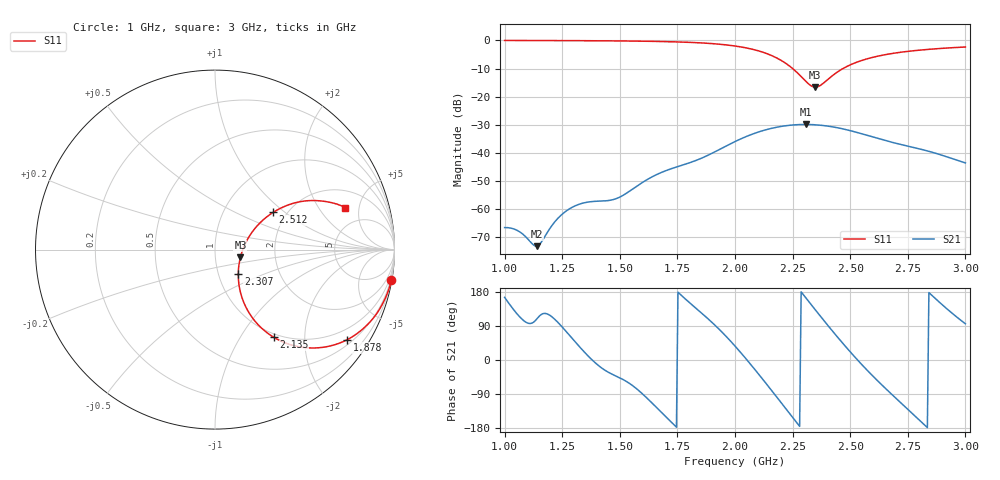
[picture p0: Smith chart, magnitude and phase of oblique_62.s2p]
! TOUCHSTONE file generated by CST MICROWAVE STUDIO
! Date and time: Tue Mar 18 00:01:25 2025
! Project name: oblique.cst
! Parameters = {Tilt=30; Fracture=1; B=12.5; D=160; F=5; Feed=2.85625; L=100; M=50; R=0.384908; S=1; Theta=180; length=57.125; wave=114.25}
! Header version: 2024
! Port assignment regex: !\s*Touchstone port\s*([0-9]+)\s*=\s*(CST MWS port|CST DES external port|CST DES block port)\s*(.+)\s* \(\"(.*)\"\)(\s*mode\s*([0-9]+))?.*
! Touchstone port assignment:
! Touchstone port 1 = CST MWS port 1 ("")
! Touchstone port 2 = CST MWS port 2 ("")
# GHz S DB R 50
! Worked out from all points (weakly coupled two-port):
!   304 points, 1 GHz to 3 GHz, reference 50 ohm
!   highest |S21| = -29.88 dB at 2.307 GHz (marker M1); lowest = -73.1 dB at 1.139 GHz (marker M2)
!   lowest |S11| = -16.6 dB at 2.347 GHz (marker M3), VSWR 1.35, Z = 66.2 - j5.73 ohm
!   |S11| at or under -10 dB: 2.25 GHz to 2.469 GHz (218.8 MHz wide, 9.28 % of centre)
!   S12 and S22 are empty: the file has one direction only
!   S11 on the Smith chart (normalised r, x): 1 GHz: 0, -12; 1.878 GHz: 0.64, -3.11; 2.135 GHz: 0.95, -1.41; 2.307 GHz: 1.24, -0.35; 2.512 GHz: 1.70, +0.83; 3 GHz: 3.22, +3.61
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1  -0.02 -9.8  -66.52 165.3  -200.00 0.0  -200.00 0.0
1.05941  -0.03 -10.6  -67.73 117.9  -200.00 0.0  -200.00 0.0
1.13861  -0.04 -11.8  -73.13 107.5  -200.00 0.0  -200.00 0.0
1.15842  -0.05 -12.1  -71.83 119.9  -200.00 0.0  -200.00 0.0
1.20462  -0.06 -12.8  -65.88 114.3  -200.00 0.0  -200.00 0.0
1.24422  -0.07 -13.5  -62.18 90.9  -200.00 0.0  -200.00 0.0
1.29043  -0.08 -14.3  -59.44 59.0  -200.00 0.0  -200.00 0.0
1.33663  -0.10 -15.2  -57.90 27.2  -200.00 0.0  -200.00 0.0
1.48845  -0.18 -18.6  -56.11 -43.8  -200.00 0.0  -200.00 0.0
1.66667  -0.37 -24.1  -47.43 -129.8  -200.00 0.0  -200.00 0.0
1.87789  -1.01 -34.4  -41.01 111.5  -200.00 0.0  -200.00 0.0
2.0033  -2.03 -43.8  -35.83 34.6  -200.00 0.0  -200.00 0.0
2.13531  -4.61 -56.2  -31.73 -62.3  -200.00 0.0  -200.00 0.0
2.22772  -8.58 -61.8  -30.25 -134.0  -200.00 0.0  -200.00 0.0
2.30693  -14.51 -46.4  -29.88 164.4  -200.00 0.0  -200.00 0.0
2.33993  -16.50 -22.5  -29.96 139.0  -200.00 0.0  -200.00 0.0
2.34653  -16.61 -16.6  -29.99 133.9  -200.00 0.0  -200.00 0.0
2.37294  -15.86 5.2  -30.16 113.8  -200.00 0.0  -200.00 0.0
2.42574  -12.35 26.8  -30.76 74.5  -200.00 0.0  -200.00 0.0
2.51155  -8.30 32.6  -32.31 13.7  -200.00 0.0  -200.00 0.0
2.66997  -4.81 28.2  -35.98 -84.7  -200.00 0.0  -200.00 0.0
3  -2.35 17.9  -43.55 95.7  -200.00 0.0  -200.00 0.0
